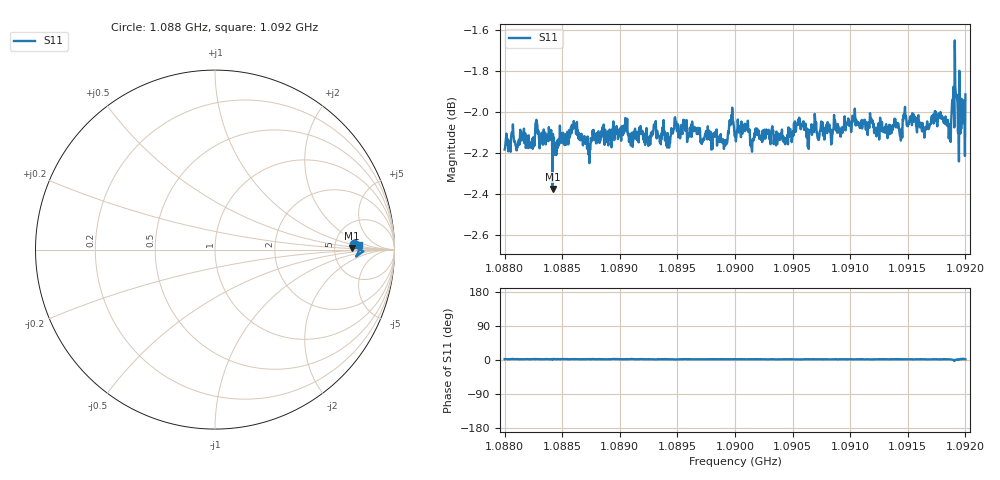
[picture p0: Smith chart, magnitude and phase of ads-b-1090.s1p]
! Calibrated averaged scanner-service zoom
# Hz S RI R 50
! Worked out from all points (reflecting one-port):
!   1001 points, 1.088 GHz to 1.092 GHz, reference 50 ohm
!   lowest |S11| = -2.4 dB at 1.08842 GHz (marker M1), VSWR 7.36, Z = 367 + j15.7 ohm
!   phase of S11 starts at 2 deg and turns -0 deg over the sweep
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1.088e9  0.7772 0.0299
1.08824e9  0.7818 0.0334
1.088276e9  0.7901 0.0327
1.088416e9  0.7608 0.00903
1.0885e9  0.78 0.0303
1.088608e9  0.7867 0.0275
1.088724e9  0.7789 0.0341
1.089e9  0.7864 0.0289
1.089112e9  0.7783 0.0318
1.089304e9  0.7878 0.026
1.089372e9  0.7847 0.0286
1.0895e9  0.7865 0.0235
1.089576e9  0.7866 0.0299
1.089912e9  0.7813 0.0287
1.089968e9  0.7924 0.0271
1.09e9  0.783 0.0268
1.0905e9  0.7852 0.0258
1.091e9  0.7888 0.0248
1.091188e9  0.7898 0.0197
1.091412e9  0.787 0.0254
1.0915e9  0.7876 0.0244
1.091832e9  0.7894 0.028
1.091864e9  0.7884 0.024
1.091904e9  0.7865 -0.0385
1.09192e9  0.801 0.0134
1.09194e9  0.792 0.00843
1.091972e9  0.7957 0.0383
1.092e9  0.8017 0.0257
